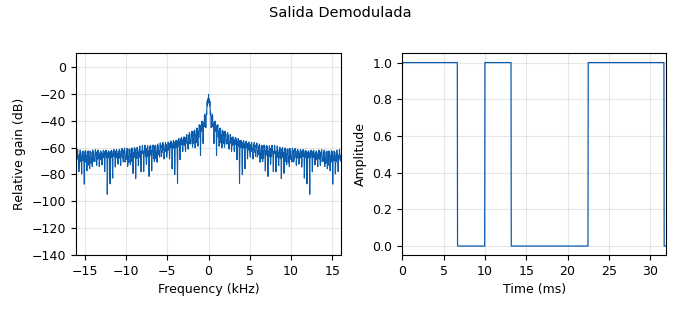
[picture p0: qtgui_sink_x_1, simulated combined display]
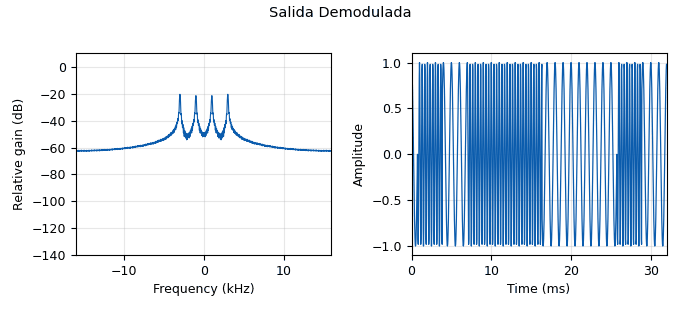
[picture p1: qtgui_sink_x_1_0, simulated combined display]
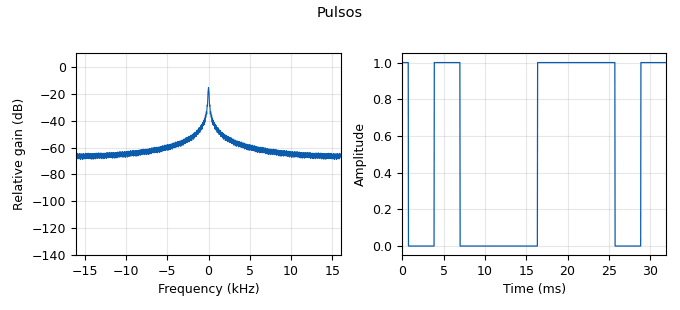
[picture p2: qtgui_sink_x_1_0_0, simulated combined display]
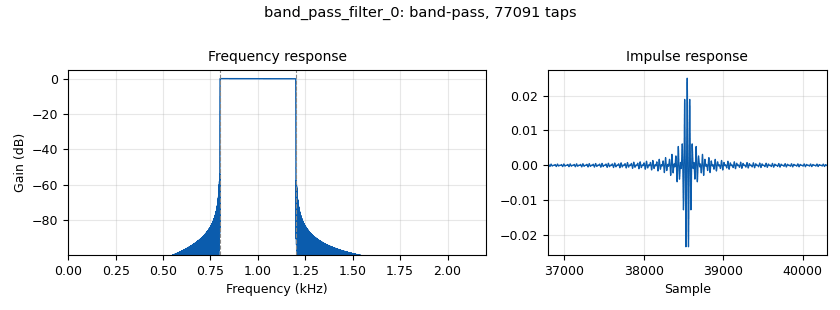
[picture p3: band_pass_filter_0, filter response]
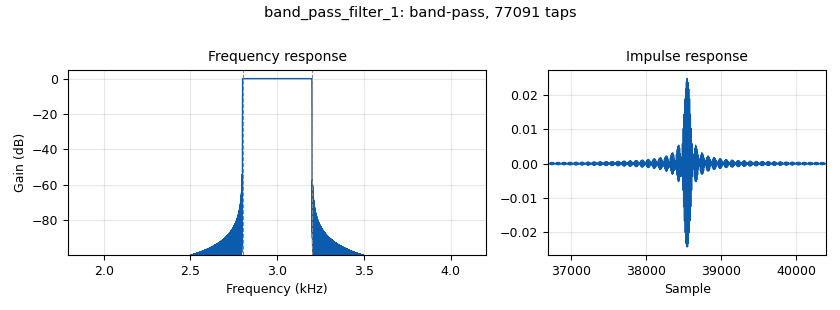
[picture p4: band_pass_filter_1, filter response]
options:
  parameters:
    author: Matias Gandino
    generate_options: qt_gui
    id: FSK_simulacion
    output_language: python
    title: FSK_simulacion
  states: {}

blocks:
- name: frecuencia_0
  id: variable
  parameters:
    value: '3000'
  states: {}
- name: frecuencia_1
  id: variable
  parameters:
    value: '1000'
  states: {}
- name: high_cutoff_0
  id: variable
  parameters:
    value: frecuencia_0+200
  states: {}
- name: high_cutoff_1
  id: variable
  parameters:
    value: frecuencia_1+200
  states: {}
- name: interpolation
  id: variable
  parameters:
    value: '100'
  states: {}
- name: low_cutoff_0
  id: variable
  parameters:
    value: frecuencia_0-200
  states: {}
- name: low_cutoff_1
  id: variable
  parameters:
    value: frecuencia_1-200
  states: {}
- name: samp_rate
  id: variable
  parameters:
    value: '32000'
  states: {}
- name: analog_const_source_x_0
  id: analog_const_source_x
  parameters:
    const: '-1'
    type: float
  states: {}
- name: analog_sig_source_x_0
  id: analog_sig_source_x
  parameters:
    amp: '1'
    freq: frecuencia_1
    offset: '0'
    phase: '0'
    samp_rate: samp_rate
    type: float
    waveform: analog.GR_COS_WAVE
  states: {}
- name: analog_sig_source_x_0_0
  id: analog_sig_source_x
  parameters:
    amp: '1'
    freq: frecuencia_0
    offset: '0'
    phase: '0'
    samp_rate: samp_rate
    type: float
    waveform: analog.GR_COS_WAVE
  states: {}
- name: band_pass_filter_0
  id: band_pass_filter
  parameters:
    decim: '1'
    gain: '1'
    high_cutoff_freq: high_cutoff_1
    low_cutoff_freq: low_cutoff_1
    samp_rate: samp_rate
    type: fir_filter_fff
    width: '1'
    win: window.WIN_HAMMING
  states: {}
- name: band_pass_filter_1
  id: band_pass_filter
  parameters:
    decim: '1'
    gain: '1'
    high_cutoff_freq: high_cutoff_0
    low_cutoff_freq: low_cutoff_0
    samp_rate: samp_rate
    type: fir_filter_fff
    width: '1'
    win: window.WIN_HAMMING
  states: {}
- name: blocks_add_const_vxx_0
  id: blocks_add_const_vxx
  parameters:
    const: '-1'
    type: float
  states: {}
- name: blocks_add_xx_0
  id: blocks_add_xx
  parameters:
    type: float
  states: {}
- name: blocks_moving_average_xx_0
  id: blocks_moving_average_xx
  parameters:
    length: '100'
    max_iter: '4000'
    scale: '0.01'
    type: float
  states: {}
- name: blocks_moving_average_xx_0_0
  id: blocks_moving_average_xx
  parameters:
    length: '100'
    max_iter: '4000'
    scale: '0.01'
    type: float
  states: {}
- name: blocks_multiply_xx_0
  id: blocks_multiply_xx
  parameters:
    type: float
  states: {}
- name: blocks_multiply_xx_0_0
  id: blocks_multiply_xx
  parameters:
    type: float
  states: {}
- name: blocks_multiply_xx_0_0_0
  id: blocks_multiply_xx
  parameters:
    type: float
  states: {}
- name: blocks_multiply_xx_1
  id: blocks_multiply_xx
  parameters:
    type: float
  states: {}
- name: blocks_multiply_xx_1_0
  id: blocks_multiply_xx
  parameters:
    type: float
  states: {}
- name: blocks_repeat_0
  id: blocks_repeat
  parameters:
    interp: interpolation
    type: float
  states: {}
- name: blocks_sub_xx_0
  id: blocks_sub_xx
  parameters:
    type: float
  states: {}
- name: blocks_throttle2_0
  id: blocks_throttle2
  parameters:
    samples_per_second: samp_rate
    type: float
  states: {}
- name: blocks_uchar_to_float_0
  id: blocks_uchar_to_float
  parameters: {}
  states: {}
- name: blocks_vector_source_x_0
  id: blocks_vector_source_x
  parameters:
    repeat: 'True'
    tags: ''
    type: float
    vector: (0, 0, 0, 1, 1, 1, 0, 1)
  states: {}
- name: digital_binary_slicer_fb_0
  id: digital_binary_slicer_fb
  parameters: {}
  states: {}
- name: note_0
  id: note
  parameters:
    note: '1'
  states: {}
- name: note_0_0
  id: note
  parameters:
    note: '0'
  states: {}
- name: note_0_0_0
  id: note
  parameters:
    note: '0'
  states: {}
- name: note_0_1
  id: note
  parameters:
    note: '1'
  states: {}
- name: qtgui_sink_x_1
  id: qtgui_sink_x
  parameters:
    bw: samp_rate
    fc: '0'
    fftsize: '1024'
    name: '"Salida Demodulada"'
    type: float
  states: {}
- name: qtgui_sink_x_1_0
  id: qtgui_sink_x
  parameters:
    bw: samp_rate
    fc: '0'
    fftsize: '1024'
    name: '"Salida Demodulada"'
    type: float
  states: {}
- name: qtgui_sink_x_1_0_0
  id: qtgui_sink_x
  parameters:
    bw: samp_rate
    fc: '0'
    fftsize: '1024'
    name: '"Pulsos"'
    type: float
  states: {}
- name: virtual_sink_0
  id: virtual_sink
  parameters:
    stream_id: FSK_salida
  states: {}
- name: virtual_sink_0_0
  id: virtual_sink
  parameters:
    stream_id: Informacion
  states: {}
- name: virtual_source_0
  id: virtual_source
  parameters:
    stream_id: FSK_salida
  states: {}
- name: virtual_source_0_0
  id: virtual_source
  parameters:
    stream_id: Informacion
  states: {}

connections:
- [analog_const_source_x_0, '0', blocks_multiply_xx_0_0, '1']
- [analog_sig_source_x_0, '0', blocks_multiply_xx_0, '0']
- [analog_sig_source_x_0_0, '0', blocks_multiply_xx_0_0_0, '1']
- [band_pass_filter_0, '0', blocks_multiply_xx_1, '0']
- [band_pass_filter_0, '0', blocks_multiply_xx_1, '1']
- [band_pass_filter_1, '0', blocks_multiply_xx_1_0, '0']
- [band_pass_filter_1, '0', blocks_multiply_xx_1_0, '1']
- [blocks_add_const_vxx_0, '0', blocks_multiply_xx_0_0, '0']
- [blocks_add_xx_0, '0', blocks_throttle2_0, '0']
- [blocks_moving_average_xx_0, '0', blocks_sub_xx_0, '1']
- [blocks_moving_average_xx_0_0, '0', blocks_sub_xx_0, '0']
- [blocks_multiply_xx_0, '0', blocks_add_xx_0, '0']
- [blocks_multiply_xx_0_0, '0', blocks_multiply_xx_0_0_0, '0']
- [blocks_multiply_xx_0_0_0, '0', blocks_add_xx_0, '1']
- [blocks_multiply_xx_1, '0', blocks_moving_average_xx_0_0, '0']
- [blocks_multiply_xx_1_0, '0', blocks_moving_average_xx_0, '0']
- [blocks_repeat_0, '0', blocks_add_const_vxx_0, '0']
- [blocks_repeat_0, '0', blocks_multiply_xx_0, '1']
- [blocks_repeat_0, '0', virtual_sink_0_0, '0']
- [blocks_sub_xx_0, '0', digital_binary_slicer_fb_0, '0']
- [blocks_throttle2_0, '0', qtgui_sink_x_1_0, '0']
- [blocks_throttle2_0, '0', virtual_sink_0, '0']
- [blocks_uchar_to_float_0, '0', qtgui_sink_x_1, '0']
- [blocks_vector_source_x_0, '0', blocks_repeat_0, '0']
- [digital_binary_slicer_fb_0, '0', blocks_uchar_to_float_0, '0']
- [virtual_source_0, '0', band_pass_filter_0, '0']
- [virtual_source_0, '0', band_pass_filter_1, '0']
- [virtual_source_0_0, '0', qtgui_sink_x_1_0_0, '0']

metadata:
  file_format: 1
  grc_version: 3.10.12.0
